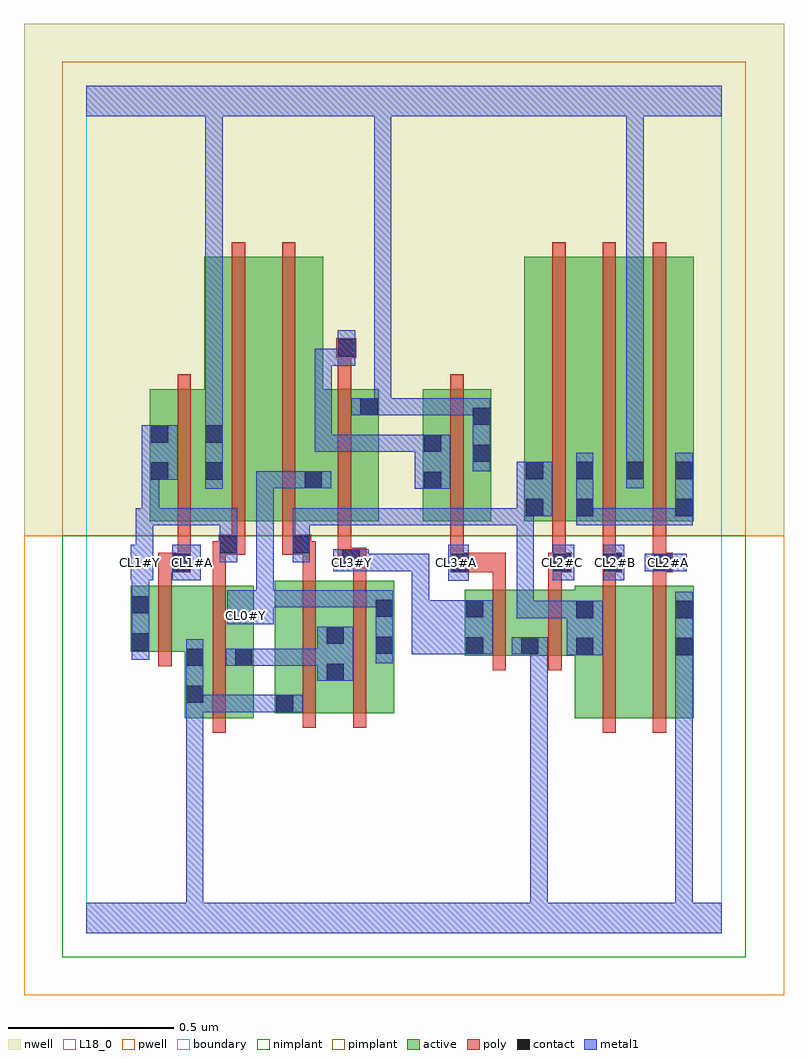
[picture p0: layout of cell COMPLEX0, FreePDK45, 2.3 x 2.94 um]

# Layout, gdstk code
import gdstk
lib = gdstk.Library(unit=1e-6, precision=1e-09)
def R(c, l, rs):  # rectangles x0, y0, x1, y1
    for r in rs: c.add(gdstk.rectangle(r[:2], r[2:], *l))
def A(c, l, x, y, w, h, nx, ny, dx, dy):  # array of equal rectangles
    R(c, l, [(x+i*dx, y+j*dy, x+i*dx+w, y+j*dy+h) for i in range(nx) for j in range(ny)])
active = (1, 0)
pwell = (2, 0)
nwell = (3, 0)
nimplant = (4, 0)
pimplant = (5, 0)
poly = (9, 0)
contact = (10, 0)
metal1 = (11, 0)
L18_0 = (18, 0)
boundary = (235, 0)

complex0 = lib.new_cell('COMPLEX0')
R(complex0, active, [(0.298,0.65,0.506,1.05), (0.298,0.65,0.358,0.864), (1.476,0.65,1.656,1.05), (1.656,0.65,1.836,1.05), (0.57,0.664,0.63,1.064), (0.57,0.664,0.782,1.064), (0.722,0.664,0.93,1.064), (0.722,0.664,0.782,0.93), (0.87,0.664,0.93,1.064), (0.446,0.756,0.506,1.05), (1.776,0.756,1.836,1.05), (1.476,0.836,1.536,1.038), (1.144,0.838,1.37,1.038), (1.144,0.838,1.204,1.038), (1.31,0.838,1.536,1.038), (1.31,0.838,1.37,1.038), (0.134,0.85,0.194,1.05), (0.134,0.85,0.358,1.05), (0.192,1.244,0.252,1.644), (0.192,1.244,0.416,1.644), (0.356,1.244,0.536,2.044), (0.536,1.244,0.716,2.044), (0.656,1.244,0.884,1.644), (0.824,1.244,0.884,1.644), (1.016,1.244,1.076,1.644), (1.016,1.244,1.224,1.644), (1.164,1.244,1.224,1.644), (1.324,1.244,1.384,2.044), (1.324,1.244,1.536,2.044), (1.476,1.244,1.536,2.044), (1.476,1.244,1.688,2.044), (1.628,1.244,1.836,2.044), (1.776,1.244,1.836,2.044), (1.628,1.31,1.688,2.044), (0.656,1.34,0.716,1.704), (0.356,1.366,0.416,1.744)])
R(complex0, pwell, [(-0.188,-0.188,2.108,1.2)])
R(complex0, nwell, [(-0.188,1.2,2.108,2.748)])
R(complex0, nimplant, [(-0.072,-0.072,1.992,1.2)])
R(complex0, pimplant, [(-0.072,1.2,1.992,2.632)])
A(complex0, poly, 1.408, 1.11, 0.04, 0.13, 3, 1, 0.152, 0)
A(complex0, poly, 1.408, 1.2, 0.04, 0.888, 3, 1, 0.152, 0)
R(complex0, poly, [(0.382,0.606,0.422,1.094), (1.56,0.606,1.6,1.094), (1.712,0.606,1.752,1.094), (0.654,0.62,0.694,1.108), (0.806,0.62,0.846,1.108), (1.228,0.794,1.268,1.082), (1.396,0.794,1.436,1.082), (0.218,0.806,0.258,1.094), (1.228,1.042,1.268,1.13), (1.396,1.042,1.436,1.13), (0.218,1.054,0.258,1.13), (0.382,1.054,0.422,1.184), (1.56,1.054,1.6,1.13), (1.712,1.054,1.752,1.13), (0.654,1.068,0.694,1.184), (0.806,1.068,0.846,1.144), (0.218,1.09,0.316,1.15), (1.1,1.09,1.268,1.15), (1.396,1.09,1.466,1.15), (1.56,1.09,1.62,1.15), (1.712,1.09,1.772,1.15), (0.77,1.104,0.846,1.164), (0.276,1.11,0.316,1.24), (0.276,1.11,0.316,1.15), (0.276,1.11,0.316,1.15), (1.1,1.11,1.14,1.24), (1.1,1.11,1.14,1.15), (1.1,1.11,1.14,1.15), (1.408,1.11,1.448,1.15), (1.408,1.11,1.448,1.15), (1.56,1.11,1.6,1.15), (1.56,1.11,1.6,1.15), (1.712,1.11,1.752,1.15), (1.712,1.11,1.752,1.15), (0.76,1.124,0.8,1.24), (0.76,1.124,0.81,1.164), (0.77,1.124,0.81,1.164), (0.382,1.144,0.44,1.184), (0.4,1.144,0.44,1.184), (0.4,1.144,0.48,1.204), (0.592,1.144,0.68,1.204), (0.64,1.144,0.68,1.184), (0.64,1.144,0.694,1.184), (0.44,1.164,0.48,1.24), (0.592,1.164,0.632,1.24), (0.276,1.2,0.316,1.688), (0.44,1.2,0.48,2.088), (0.592,1.2,0.632,2.088), (0.76,1.2,0.8,1.688), (1.1,1.2,1.14,1.688), (0.76,1.648,0.8,1.778), (0.756,1.738,0.816,1.798)])
A(complex0, contact, 1.328, 1.372, 0.052, 0.052, 3, 1, 0.152, 0)
R(complex0, contact, [(0.574,0.668,0.626,0.72), (0.302,0.696,0.354,0.748), (0.726,0.762,0.778,0.814), (0.302,0.808,0.354,0.86), (0.45,0.808,0.502,0.86), (1.48,0.84,1.532,0.892), (1.78,0.84,1.832,0.892), (1.148,0.842,1.2,0.894), (1.314,0.842,1.366,0.894), (0.874,0.844,0.926,0.896), (0.138,0.854,0.19,0.906), (0.726,0.874,0.778,0.926), (1.48,0.952,1.532,1.004), (1.78,0.952,1.832,1.004), (1.148,0.954,1.2,1.006), (0.874,0.956,0.926,1.008), (0.138,0.966,0.19,1.018), (0.26,1.094,0.312,1.146), (1.104,1.094,1.156,1.146), (1.41,1.094,1.462,1.146), (1.564,1.094,1.616,1.146), (1.716,1.094,1.768,1.146), (0.774,1.108,0.826,1.16), (0.404,1.148,0.456,1.2), (0.624,1.148,0.676,1.2), (1.328,1.26,1.38,1.312), (1.48,1.26,1.532,1.312), (1.78,1.26,1.832,1.312), (1.02,1.342,1.072,1.394), (0.66,1.344,0.712,1.396), (0.196,1.37,0.248,1.422), (0.36,1.37,0.412,1.422), (1.78,1.372,1.832,1.424), (1.168,1.424,1.22,1.476), (1.02,1.454,1.072,1.506), (0.196,1.482,0.248,1.534), (0.36,1.482,0.412,1.534), (1.168,1.536,1.22,1.588), (0.828,1.564,0.88,1.616), (0.76,1.742,0.812,1.794)])
R(complex0, metal1, [(0,0,1.92,0.092), (0.302,0.04,0.354,0.092), (0.302,0.04,0.354,0.092), (0.302,0.04,0.354,0.092), (0.302,0.04,0.354,0.092), (0.302,0.04,0.354,0.092), (0.302,0.04,0.354,0.092), (0.302,0.04,0.354,0.092), (0.302,0.04,0.354,0.092), (0.302,0.04,0.354,0.092), (0.302,0.04,0.354,0.092), (0.302,0.04,0.354,0.092), (0.302,0.04,0.354,0.092), (0.302,0.04,0.354,0.72), (1.342,0.04,1.394,0.092), (1.342,0.04,1.394,0.092), (1.342,0.04,1.394,0.092), (1.342,0.04,1.394,0.092), (1.342,0.04,1.394,0.092), (1.342,0.04,1.394,0.092), (1.342,0.04,1.394,0.092), (1.342,0.04,1.394,0.092), (1.342,0.04,1.394,0.092), (1.342,0.04,1.394,0.092), (1.342,0.04,1.394,0.894), (1.78,0.04,1.832,0.092), (1.78,0.04,1.832,0.092), (1.78,0.04,1.832,0.092), (1.78,0.04,1.832,0.092), (1.78,0.04,1.832,0.092), (1.78,0.04,1.832,0.092), (1.78,0.04,1.832,0.092), (1.78,0.04,1.832,0.092), (1.78,0.04,1.832,0.092), (1.78,0.04,1.832,0.092), (1.78,0.04,1.832,0.864), (0.302,0.668,0.354,0.72), (0.302,0.668,0.354,0.72), (0.302,0.668,0.354,0.888), (0.302,0.668,0.464,0.72), (0.412,0.668,0.464,0.72), (0.412,0.668,0.598,0.72), (0.546,0.668,0.654,0.72), (0.698,0.762,0.806,0.926), (0.422,0.808,0.53,0.86), (0.478,0.808,0.53,0.86), (0.478,0.808,0.53,0.86), (0.478,0.808,0.64,0.86), (0.588,0.808,0.64,0.86), (0.588,0.808,0.75,0.86), (1.78,0.812,1.832,0.864), (1.78,0.812,1.832,0.864), (1.78,0.812,1.832,1.032), (0.874,0.816,0.926,1.036), (0.138,0.826,0.19,1.046), (1.452,0.84,1.56,1.004), (0.984,0.842,1.228,1.006), (1.286,0.842,1.394,0.894), (1.342,0.842,1.394,0.894), (1.342,0.842,1.394,0.894), (1.342,0.842,1.394,0.894), (1.342,0.842,1.394,0.894), (1.342,0.842,1.394,0.894), (1.342,0.842,1.394,0.894), (0.426,0.934,0.566,1.036), (1.3,0.952,1.352,1.004), (1.3,0.952,1.504,1.004), (1.3,0.952,1.352,1.284), (1.452,0.952,1.504,1.004), (1.452,0.952,1.504,1.004), (0.984,0.954,1.036,1.146), (0.514,0.984,0.566,1.036), (0.514,0.984,0.566,1.036), (0.514,0.984,0.676,1.036), (0.514,0.984,0.566,1.396), (0.624,0.984,0.676,1.036), (0.624,0.984,0.676,1.036), (0.624,0.984,0.676,1.036), (0.624,0.984,0.676,1.036), (0.624,0.984,0.676,1.036), (0.624,0.984,0.926,1.036), (0.874,0.984,0.926,1.036), (0.874,0.984,0.926,1.036), (0.138,0.994,0.19,1.118), (1.094,1.064,1.156,1.174), (0.134,1.066,0.202,1.174), (0.26,1.066,0.346,1.174), (1.41,1.066,1.474,1.174), (1.562,1.066,1.626,1.174), (0.746,1.094,0.854,1.16), (0.802,1.094,0.854,1.146), (0.802,1.094,0.854,1.146), (0.802,1.094,1.036,1.146), (0.984,1.094,1.036,1.146), (1.688,1.094,1.814,1.146), (0.404,1.12,0.456,1.284), (0.624,1.12,0.676,1.228), (0.15,1.122,0.202,1.284), (0.624,1.176,0.676,1.228), (0.624,1.176,0.676,1.284), (0.15,1.232,0.22,1.284), (0.168,1.232,0.22,1.284), (0.168,1.232,0.22,1.284), (0.168,1.232,0.354,1.284), (0.168,1.232,0.22,1.422), (0.302,1.232,0.354,1.284), (0.302,1.232,0.456,1.284), (0.624,1.232,0.926,1.284), (0.874,1.232,0.926,1.284), (0.874,1.232,0.926,1.284), (0.874,1.232,0.926,1.284), (0.874,1.232,1.11,1.284), (1.058,1.232,1.11,1.284), (1.058,1.232,1.11,1.284), (1.058,1.232,1.11,1.284), (1.058,1.232,1.352,1.284), (1.3,1.232,1.352,1.284), (1.3,1.232,1.352,1.284), (1.3,1.232,1.352,1.284), (1.3,1.232,1.352,1.284), (1.3,1.232,1.352,1.284), (1.3,1.232,1.352,1.312), (1.48,1.232,1.532,1.452), (1.48,1.232,1.63,1.284), (1.578,1.232,1.63,1.284), (1.578,1.232,1.642,1.284), (1.59,1.232,1.642,1.284), (1.59,1.232,1.832,1.284), (1.78,1.232,1.832,1.284), (1.78,1.232,1.832,1.284), (1.78,1.232,1.832,1.452), (1.3,1.26,1.408,1.424), (0.36,1.342,0.412,1.562), (0.992,1.342,1.1,1.506), (0.514,1.344,0.566,1.396), (0.514,1.344,0.684,1.396), (0.632,1.344,0.684,1.396), (0.632,1.344,0.684,1.396), (0.632,1.344,0.74,1.396), (1.632,1.344,1.684,1.452), (0.168,1.37,0.276,1.534), (1.168,1.396,1.22,1.616), (1.632,1.4,1.684,1.452), (1.632,1.4,1.684,1.452), (1.632,1.4,1.684,1.452), (1.632,1.4,1.684,1.452), (1.632,1.4,1.684,1.452), (1.632,1.4,1.684,1.452), (1.632,1.4,1.684,2.52), (0.69,1.454,0.742,1.506), (0.69,1.454,0.852,1.506), (0.69,1.454,0.742,1.766), (0.8,1.454,0.852,1.506), (0.8,1.454,0.852,1.506), (0.8,1.454,0.852,1.506), (0.8,1.454,1.044,1.506), (0.36,1.51,0.412,2.52), (0.8,1.564,0.922,1.616), (0.87,1.564,1.11,1.616), (0.87,1.564,0.922,1.626), (1.058,1.564,1.11,1.616), (1.058,1.564,1.11,1.616), (1.058,1.564,1.11,1.616), (1.058,1.564,1.22,1.616), (0.87,1.574,0.922,1.626), (0.87,1.574,0.922,2.52), (0.69,1.714,0.742,1.766), (0.69,1.714,0.742,1.766), (0.69,1.714,0.742,1.766), (0.69,1.714,0.812,1.766), (0.76,1.714,0.812,1.822), (0,2.468,1.92,2.56), (0.36,2.468,0.412,2.52), (0.36,2.468,0.412,2.52), (0.36,2.468,0.412,2.52), (0.36,2.468,0.412,2.52), (0.36,2.468,0.412,2.52), (0.36,2.468,0.412,2.52), (0.36,2.468,0.412,2.52), (0.36,2.468,0.412,2.52), (0.87,2.468,0.922,2.52), (0.87,2.468,0.922,2.52), (0.87,2.468,0.922,2.52), (0.87,2.468,0.922,2.52), (0.87,2.468,0.922,2.52), (0.87,2.468,0.922,2.52), (0.87,2.468,0.922,2.52), (0.87,2.468,0.922,2.52), (0.87,2.468,0.922,2.52), (0.87,2.468,0.922,2.52), (0.87,2.468,0.922,2.52), (0.87,2.468,0.922,2.52), (0.87,2.468,0.922,2.52), (0.87,2.468,0.922,2.52), (1.632,2.468,1.684,2.52), (1.632,2.468,1.684,2.52)])
A(complex0, L18_0, 1.414, 1.094, 0.052, 0.052, 3, 1, 0.16, 0)
R(complex0, L18_0, [(0,0,1.92,0.092), (0.302,0.04,0.354,0.092), (0.302,0.04,0.354,0.092), (0.302,0.04,0.354,0.092), (0.302,0.04,0.354,0.092), (0.302,0.04,0.354,0.092), (0.302,0.04,0.354,0.092), (0.302,0.04,0.354,0.092), (0.302,0.04,0.354,0.092), (0.302,0.04,0.354,0.092), (0.302,0.04,0.354,0.092), (0.302,0.04,0.354,0.092), (0.302,0.04,0.354,0.092), (0.302,0.04,0.354,0.72), (1.342,0.04,1.394,0.092), (1.342,0.04,1.394,0.092), (1.342,0.04,1.394,0.092), (1.342,0.04,1.394,0.092), (1.342,0.04,1.394,0.092), (1.342,0.04,1.394,0.092), (1.342,0.04,1.394,0.092), (1.342,0.04,1.394,0.092), (1.342,0.04,1.394,0.092), (1.342,0.04,1.394,0.092), (1.342,0.04,1.394,0.894), (1.78,0.04,1.832,0.092), (1.78,0.04,1.832,0.092), (1.78,0.04,1.832,0.092), (1.78,0.04,1.832,0.092), (1.78,0.04,1.832,0.092), (1.78,0.04,1.832,0.092), (1.78,0.04,1.832,0.092), (1.78,0.04,1.832,0.092), (1.78,0.04,1.832,0.092), (1.78,0.04,1.832,0.092), (1.78,0.04,1.832,0.864), (0.302,0.668,0.354,0.888), (0.302,0.668,0.354,0.72), (0.302,0.668,0.354,0.72), (0.302,0.668,0.464,0.72), (0.412,0.668,0.464,0.72), (0.412,0.668,0.598,0.72), (0.546,0.668,0.654,0.72), (1.78,0.812,1.832,1.032), (1.78,0.812,1.832,0.864), (1.78,0.812,1.832,0.864), (0.874,0.816,0.926,1.036), (0.138,0.826,0.19,1.046), (0.984,0.842,1.228,1.006), (1.286,0.842,1.394,0.894), (1.342,0.842,1.394,0.894), (1.342,0.842,1.394,0.894), (1.342,0.842,1.394,0.894), (1.342,0.842,1.394,0.894), (1.342,0.842,1.394,0.894), (1.342,0.842,1.394,0.894), (0.426,0.934,0.566,1.036), (0.454,0.934,0.506,0.986), (0.984,0.954,1.036,1.146), (0.514,0.984,0.566,1.036), (0.514,0.984,0.566,1.036), (0.514,0.984,0.676,1.036), (0.514,0.984,0.566,1.396), (0.624,0.984,0.676,1.036), (0.624,0.984,0.676,1.036), (0.624,0.984,0.676,1.036), (0.624,0.984,0.676,1.036), (0.624,0.984,0.676,1.036), (0.624,0.984,0.926,1.036), (0.874,0.984,0.926,1.036), (0.874,0.984,0.926,1.036), (0.138,0.994,0.19,1.118), (1.094,1.064,1.156,1.174), (0.134,1.066,0.202,1.174), (0.26,1.066,0.346,1.174), (1.41,1.066,1.474,1.174), (1.562,1.066,1.626,1.174), (0.134,1.094,0.186,1.146), (0.294,1.094,0.346,1.146), (0.746,1.094,0.854,1.16), (0.774,1.094,0.826,1.146), (0.802,1.094,0.854,1.146), (0.802,1.094,0.854,1.146), (0.802,1.094,1.036,1.146), (0.984,1.094,1.036,1.146), (1.094,1.094,1.146,1.146), (1.688,1.094,1.814,1.146), (0.404,1.12,0.456,1.284), (0.15,1.122,0.202,1.284), (0.15,1.232,0.22,1.284), (0.168,1.232,0.22,1.422), (0.168,1.232,0.22,1.284), (0.168,1.232,0.22,1.284), (0.168,1.232,0.354,1.284), (0.302,1.232,0.354,1.284), (0.302,1.232,0.456,1.284), (0.36,1.342,0.412,1.562), (0.992,1.342,1.1,1.506), (0.514,1.344,0.566,1.396), (0.514,1.344,0.684,1.396), (0.632,1.344,0.684,1.396), (0.632,1.344,0.684,1.396), (0.632,1.344,0.74,1.396), (1.632,1.344,1.684,1.452), (0.168,1.37,0.276,1.534), (1.168,1.396,1.22,1.616), (1.632,1.4,1.684,1.452), (1.632,1.4,1.684,1.452), (1.632,1.4,1.684,1.452), (1.632,1.4,1.684,1.452), (1.632,1.4,1.684,1.452), (1.632,1.4,1.684,1.452), (1.632,1.4,1.684,2.52), (0.69,1.454,0.742,1.506), (0.69,1.454,0.852,1.506), (0.69,1.454,0.742,1.766), (0.8,1.454,0.852,1.506), (0.8,1.454,0.852,1.506), (0.8,1.454,0.852,1.506), (0.8,1.454,1.044,1.506), (0.36,1.51,0.412,2.52), (0.8,1.564,0.922,1.616), (0.87,1.564,0.922,1.626), (0.87,1.564,1.11,1.616), (1.058,1.564,1.11,1.616), (1.058,1.564,1.11,1.616), (1.058,1.564,1.11,1.616), (1.058,1.564,1.22,1.616), (0.87,1.574,0.922,1.626), (0.87,1.574,0.922,2.52), (0.69,1.714,0.742,1.766), (0.69,1.714,0.742,1.766), (0.69,1.714,0.742,1.766), (0.69,1.714,0.812,1.766), (0.76,1.714,0.812,1.822), (0,2.468,1.92,2.56), (0.36,2.468,0.412,2.52), (0.36,2.468,0.412,2.52), (0.36,2.468,0.412,2.52), (0.36,2.468,0.412,2.52), (0.36,2.468,0.412,2.52), (0.36,2.468,0.412,2.52), (0.36,2.468,0.412,2.52), (0.36,2.468,0.412,2.52), (0.87,2.468,0.922,2.52), (0.87,2.468,0.922,2.52), (0.87,2.468,0.922,2.52), (0.87,2.468,0.922,2.52), (0.87,2.468,0.922,2.52), (0.87,2.468,0.922,2.52), (0.87,2.468,0.922,2.52), (0.87,2.468,0.922,2.52), (0.87,2.468,0.922,2.52), (0.87,2.468,0.922,2.52), (0.87,2.468,0.922,2.52), (0.87,2.468,0.922,2.52), (0.87,2.468,0.922,2.52), (0.87,2.468,0.922,2.52), (1.632,2.468,1.684,2.52), (1.632,2.468,1.684,2.52)])
R(complex0, boundary, [(0,0,1.92,2.56)])
complex0.add(gdstk.Label('CL0#Y', (0.48,0.96), layer=11, texttype=0))
complex0.add(gdstk.Label('CL1#A', (0.32,1.12), layer=11, texttype=0))
complex0.add(gdstk.Label('CL1#Y', (0.16,1.12), layer=11, texttype=0))
complex0.add(gdstk.Label('CL2#A', (1.76,1.12), layer=11, texttype=0))
complex0.add(gdstk.Label('CL2#B', (1.6,1.12), layer=11, texttype=0))
complex0.add(gdstk.Label('CL2#C', (1.44,1.12), layer=11, texttype=0))
complex0.add(gdstk.Label('CL3#A', (1.12,1.12), layer=11, texttype=0))
complex0.add(gdstk.Label('CL3#Y', (0.8,1.12), layer=11, texttype=0))

lib.write_gds('COMPLEX0.gds')
